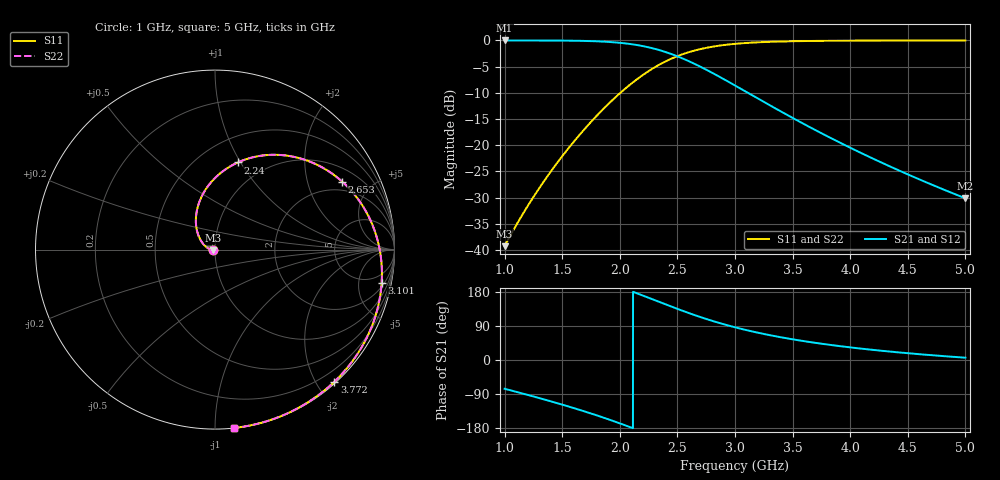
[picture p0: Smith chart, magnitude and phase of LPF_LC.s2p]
! Touchstone file from project ECEN_425_Project2MELANIE
! Exported from Circuit Design 2017.1.0
# GHZ S MA R 50.000000
! Modal data exported
! Port[1] = 1
! Port[2] = 2
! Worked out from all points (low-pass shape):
!   4001 points, 1 GHz to 5 GHz, reference 50 ohm
!   highest |S21| = 0.00 dB at 1 GHz (marker M1); lowest = -30.1 dB at 5 GHz (marker M2)
!   |S21| within 3 dB of the highest: start of sweep to 2.497 GHz
!   lowest |S11| = -39.3 dB at 1 GHz (marker M3), VSWR 1.02, Z = 49 - j0.261 ohm
!   |S11| at or under -10 dB: start of sweep to 2.005 GHz
!   |S22| runs from -39.3 to 0.0 dB; largest |S21 - S12| = 1.7e-14
!   S11 on the Smith chart (normalised r, x): 1 GHz: 0.98, -0.01; 2.24 GHz: 0.75, +0.97; 2.653 GHz: 1.55, +3.32; 3.101 GHz: 2.62, -9.40; 3.772 GHz: 0.02, -2.25; 5 GHz: 0.00, -1.11
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1  0.0109 -165.8  0.9999 -75.8  0.9999 -75.8  0.0109 -165.8
! Port Impedance50 0 50 0
1.178  0.02403 179.8  0.9997 -90.2  0.9997 -90.2  0.02403 179.8
1.345  0.04598 165.8  0.9989 -104.2  0.9989 -104.2  0.04598 165.8
1.507  0.08046 151.7  0.9968 -118.3  0.9968 -118.3  0.08046 151.7
1.667  0.132 136.9  0.9913 -133.1  0.9913 -133.1  0.132 136.9
1.833  0.2088 120.5  0.978 -149.5  0.978 -149.5  0.2088 120.5
1.976  0.2964 105.5  0.9551 -164.5  0.9551 -164.5  0.2964 105.5
2.108  0.3938 90.7  0.9192 -179.3  0.9192 -179.3  0.3938 90.7
2.24  0.5017 75.4  0.8651 165.4  0.8651 165.4  0.5017 75.4
2.334  0.58 64.3  0.8146 154.3  0.8146 154.3  0.58 64.3
2.413  0.6435 55.0  0.7654 145.0  0.7654 145.0  0.6435 55.0
2.49  0.7012 46.0  0.713 136.0  0.713 136.0  0.7012 46.0
2.653  0.8035 28.1  0.5953 118.1  0.5953 118.1  0.8035 28.1
2.823  0.8787 11.4  0.4773 101.4  0.4773 101.4  0.8787 11.4
3  0.9282 -3.7  0.3721 86.3  0.3721 86.3  0.9282 -3.7
3.101  0.9468 -11.3  0.3217 78.7  0.3217 78.7  0.9468 -11.3
3.377  0.9763 -28.8  0.2166 61.2  0.2166 61.2  0.9763 -28.8
3.667  0.9894 -43.4  0.1454 46.6  0.1454 46.6  0.9894 -43.4
3.772  0.992 -47.9  0.1266 42.1  0.1266 42.1  0.992 -47.9
4.036  0.9959 -58.0  0.09065 32.0  0.09065 32.0  0.9959 -58.0
4.334  0.998 -67.5  0.06362 22.5  0.06362 22.5  0.998 -67.5
5  0.9995 -83.9  0.03118 6.1  0.03118 6.1  0.9995 -83.9
